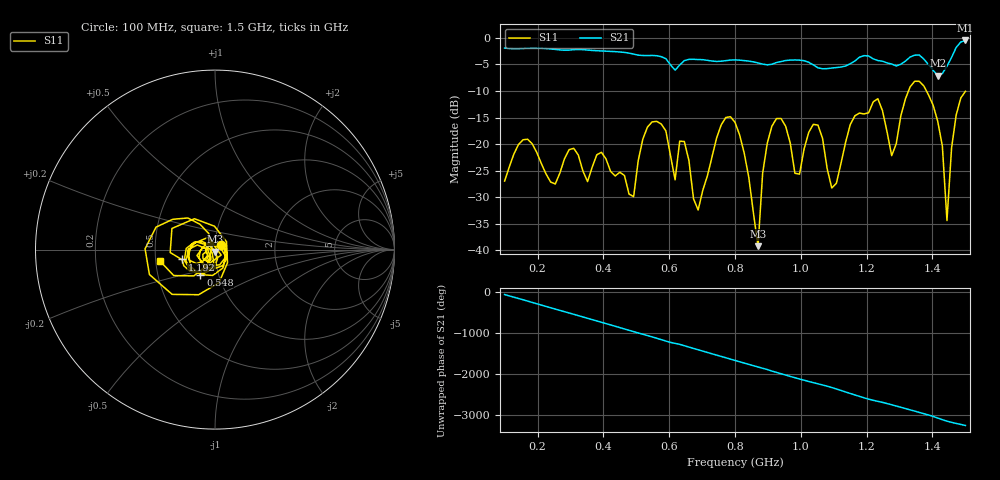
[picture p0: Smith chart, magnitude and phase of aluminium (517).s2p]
! NanoVNA-App
! Date: 2025-09-25 14:59:18
! Start: 100MHz Stop: 1,5GHz Points: 101
! S-Parameter data: F S11 S21 S12 S22
# Hz S RI R 50
!  Frequency  S11_Real  S11_Imag  S21_Real  S21_Imag  S12_Real  S12_Imag  S22_Real  S22_Imag
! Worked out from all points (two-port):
!   101 points, 100 MHz to 1.5 GHz, reference 50 ohm
!   highest |S21| = -0.49 dB at 1.5 GHz (marker M1); lowest = -7.1 dB at 1.416 GHz (marker M2)
!   |S21| within 3 dB of the highest: start of sweep to 571.8 MHz; 1.459 GHz to end of sweep (the widest 2 of 4)
!   lowest |S11| = -39.2 dB at 870 MHz (marker M3), VSWR 1.02, Z = 50.2 - j1.08 ohm
!   |S11| at or under -10 dB: start of sweep to 1.327 GHz; 1.382 GHz to end of sweep
!   S12 and S22 are empty: the file has one direction only
!   S11 on the Smith chart (normalised r, x): 100 MHz: 1.07, +0.06; 548 MHz: 0.82, -0.23; 1.192 GHz: 0.69, -0.08; 1.5 GHz: 0.53, -0.07
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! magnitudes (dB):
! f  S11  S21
! 100 MHz  -27.0  -1.9
! 156 MHz  -19.2  -2.0
! 338 MHz  -25.1  -2.2
! 492 MHz  -29.9  -3.1
! 548 MHz  -15.8  -3.3
! 576 MHz  -16.2  -3.5
! 618 MHz  -26.7  -6.1
! 646 MHz  -19.5  -4.3
! 688 MHz  -32.4  -4.1
! 800 MHz  -15.9  -4.1
! 870 MHz  -39.2  -4.7
! 912 MHz  -16.6  -5.0
! 996 MHz  -25.7  -4.2
! 1.038 GHz  -16.3  -5.1
! 1.094 GHz  -28.3  -5.7
! 1.192 GHz  -14.3  -3.3
! 1.276 GHz  -22.2  -4.9
! 1.346 GHz  -8.2  -3.3
! 1.416 GHz  -15.7  -7.1
! 1.444 GHz  -34.4  -5.3
! 1.472 GHz  -14.5  -1.8
! 1.5 GHz  -10.1  -0.5
